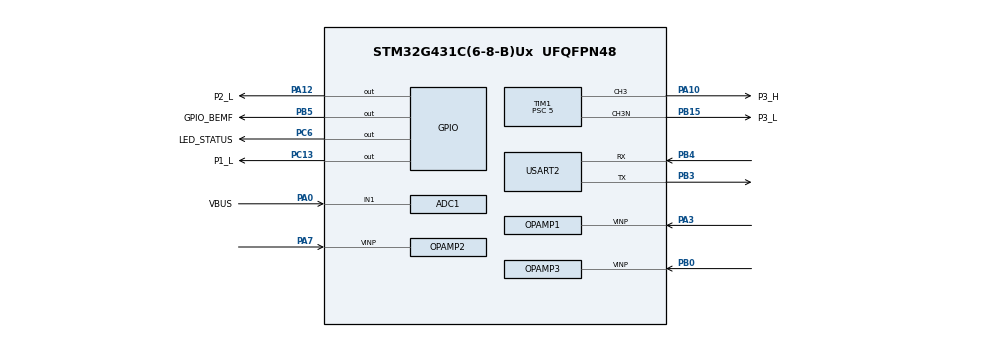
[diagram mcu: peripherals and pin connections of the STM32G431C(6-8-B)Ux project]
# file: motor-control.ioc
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ADC1.Channel-5\#ChannelRegularConversion=ADC_CHANNEL_1
ADC1.Channel-6\#ChannelRegularConversion=ADC_CHANNEL_VOPAMP1
ADC1.DMAContinuousRequests=ENABLE
ADC1.EOCSelection=ADC_EOC_SEQ_CONV
ADC1.ExternalTrigConv=ADC_EXTERNALTRIG_T1_TRGO
ADC1.NbrOfConversion=2
ADC1.NbrOfConversionFlag=1
ADC1.OffsetNumber-5\#ChannelRegularConversion=ADC_OFFSET_NONE
ADC1.OffsetNumber-6\#ChannelRegularConversion=ADC_OFFSET_NONE
ADC1.Rank-5\#ChannelRegularConversion=1
ADC1.Rank-6\#ChannelRegularConversion=2
ADC1.SamplingTime-5\#ChannelRegularConversion=ADC_SAMPLETIME_2CYCLES_5
ADC1.SamplingTime-6\#ChannelRegularConversion=ADC_SAMPLETIME_2CYCLES_5
ADC1.master=1
ADC2.Channel-3\#ChannelRegularConversion=ADC_CHANNEL_VOPAMP2
ADC2.Channel-4\#ChannelRegularConversion=ADC_CHANNEL_VOPAMP2
ADC2.ContinuousConvMode=ENABLE
ADC2.DMAContinuousRequests=ENABLE
ADC2.EOCSelection=ADC_EOC_SEQ_CONV
ADC2.ExternalTrigConv=ADC_SOFTWARE_START
ADC2.NbrOfConversion=2
ADC2.NbrOfConversionFlag=1
ADC2.OffsetNumber-3\#ChannelRegularConversion=ADC_OFFSET_NONE
ADC2.OffsetNumber-4\#ChannelRegularConversion=ADC_OFFSET_NONE
ADC2.Rank-3\#ChannelRegularConversion=1
ADC2.Rank-4\#ChannelRegularConversion=2
ADC2.SamplingTime-3\#ChannelRegularConversion=ADC_SAMPLETIME_2CYCLES_5
ADC2.SamplingTime-4\#ChannelRegularConversion=ADC_SAMPLETIME_2CYCLES_5
Dma.ADC1.1.Direction=DMA_PERIPH_TO_MEMORY
Dma.ADC1.1.EventEnable=DISABLE
Dma.ADC1.1.Instance=DMA1_Channel1
Dma.ADC1.1.MemDataAlignment=DMA_MDATAALIGN_HALFWORD
Dma.ADC1.1.MemInc=DMA_MINC_ENABLE
Dma.ADC1.1.Mode=DMA_CIRCULAR
Dma.ADC1.1.PeriphDataAlignment=DMA_PDATAALIGN_HALFWORD
Dma.ADC1.1.PeriphInc=DMA_PINC_DISABLE
Dma.ADC1.1.Polarity=HAL_DMAMUX_REQ_GEN_RISING
Dma.ADC1.1.Priority=DMA_PRIORITY_LOW
Dma.ADC1.1.RequestNumber=1
Dma.ADC1.1.SignalID=NONE
Dma.ADC1.1.SyncEnable=DISABLE
Dma.ADC1.1.SyncPolarity=HAL_DMAMUX_SYNC_NO_EVENT
Dma.ADC1.1.SyncRequestNumber=1
Dma.ADC1.1.SyncSignalID=NONE
Dma.ADC2.0.Direction=DMA_PERIPH_TO_MEMORY
Dma.ADC2.0.EventEnable=DISABLE
Dma.ADC2.0.Instance=DMA1_Channel2
Dma.ADC2.0.MemDataAlignment=DMA_MDATAALIGN_HALFWORD
Dma.ADC2.0.MemInc=DMA_MINC_ENABLE
Dma.ADC2.0.Mode=DMA_CIRCULAR
Dma.ADC2.0.PeriphDataAlignment=DMA_PDATAALIGN_HALFWORD
Dma.ADC2.0.PeriphInc=DMA_PINC_DISABLE
Dma.ADC2.0.Polarity=HAL_DMAMUX_REQ_GEN_RISING
Dma.ADC2.0.Priority=DMA_PRIORITY_LOW
Dma.ADC2.0.RequestNumber=1
Dma.ADC2.0.SignalID=NONE
Dma.ADC2.0.SyncEnable=DISABLE
Dma.ADC2.0.SyncPolarity=HAL_DMAMUX_SYNC_NO_EVENT
Dma.ADC2.0.SyncRequestNumber=1
Dma.ADC2.0.SyncSignalID=NONE
Dma.Request0=ADC2
Dma.Request1=ADC1
Mcu.Family=STM32G4
Mcu.Name=STM32G431C(6-8-B)Ux
Mcu.Package=UFQFPN48
NVIC.DMA1_Channel1_IRQn=true\:0\:0\:false\:false\:true\:false\:true\:true
NVIC.DMA1_Channel2_IRQn=true\:0\:0\:false\:false\:true\:false\:true\:true
NVIC.PriorityGroup=NVIC_PRIORITYGROUP_4
OPAMP1.PgaGain=OPAMP_PGA_GAIN_16_OR_MINUS_15
OPAMP2.PgaGain=OPAMP_PGA_GAIN_16_OR_MINUS_15
OPAMP3.PgaGain=OPAMP_PGA_GAIN_16_OR_MINUS_15
OPAMP3.PowerMode=OPAMP_POWERMODE_HIGHSPEED
PA0.GPIO_Label=VBUS
PA0.Mode=IN1-Single-Ended
PA0.Signal=ADC1_IN1
PA10.GPIO_Label=P3_H
PA10.Signal=S_TIM1_CH3
PA12.GPIO_Label=P2_L
PA12.Signal=GPIO_Output
PA3.Mode=PGA_Internally_Connected
PA3.Signal=OPAMP1_VINP
PA7.Mode=PGA_Internally_Connected
PA7.Signal=OPAMP2_VINP
PA8.GPIO_Label=P1_H
PA8.GPIO_Speed=GPIO_SPEED_FREQ_HIGH
PA8.Signal=S_TIM1_CH1
PA9.GPIO_Label=P2_H
PA9.Signal=S_TIM1_CH2
PB0.Mode=PGA_Internally_Connected
PB0.Signal=OPAMP3_VINP
PB15.GPIO_Label=P3_L
PB15.Mode=PWM Generation3 CH3 CH3N
PB15.Signal=TIM1_CH3N
PB3.Mode=Asynchronous
PB3.Signal=USART2_TX
PB4.Mode=Asynchronous
PB4.Signal=USART2_RX
PB5.GPIO_Label=GPIO_BEMF
PB5.Signal=GPIO_Output
PC13.GPIO_Label=P1_L
PC13.Signal=GPIO_Output
PC6.GPIO_Label=LED_STATUS
PC6.Signal=GPIO_Output
PF0-OSC_IN.Mode=HSE-External-Oscillator
PF0-OSC_IN.Signal=RCC_OSC_IN
PF1-OSC_OUT.Mode=HSE-External-Oscillator
PF1-OSC_OUT.Signal=RCC_OSC_OUT
ProjectManager.HeapSize=0x200
ProjectManager.StackSize=0x400
ProjectManager.TargetToolchain=STM32CubeIDE
RCC.ADC12Freq_Value=120000000
RCC.AHBFreq_Value=120000000
RCC.APB1Freq_Value=120000000
RCC.APB1TimFreq_Value=120000000
RCC.APB2Freq_Value=120000000
RCC.APB2TimFreq_Value=120000000
RCC.CortexFreq_Value=120000000
RCC.EXTERNAL_CLOCK_VALUE=12288000
RCC.HCLKFreq_Value=120000000
RCC.HSE_VALUE=8000000
RCC.HSI48_VALUE=48000000
RCC.HSI_VALUE=16000000
RCC.LSE_VALUE=32768
RCC.PLLN=30
RCC.PLLSourceVirtual=RCC_PLLSOURCE_HSE
RCC.SYSCLKFreq_VALUE=120000000
RCC.SYSCLKSource=RCC_SYSCLKSOURCE_PLLCLK
RCC.USBFreq_Value=120000000
RCC.VCOOutputFreq_Value=240000000
SH.S_TIM1_CH1.0=TIM1_CH1
SH.S_TIM1_CH2.0=TIM1_CH2
SH.S_TIM1_CH3.0=TIM1_CH3,PWM Generation3 CH3 CH3N
TIM1.AsymmetricalDeadTime=DISABLE
TIM1.AutoReloadPreload=TIM_AUTORELOAD_PRELOAD_DISABLE
TIM1.AutomaticOutput=TIM_AUTOMATICOUTPUT_ENABLE
TIM1.Channel-PWM\ Generation3\ CH3\ CH3N=TIM_CHANNEL_3
TIM1.Channel-PWM\ Generation4\ No\ Output=TIM_CHANNEL_4
TIM1.CounterMode=TIM_COUNTERMODE_CENTERALIGNED1
TIM1.DeadTime=20
TIM1.DeadTimePreload=DISABLE
TIM1.FallingDeadTime=20
TIM1.OCPolarity_4=TIM_OCPOLARITY_LOW
TIM1.PeriodNoDither=499
TIM1.Prescaler=5
TIM1.PulseNoDither_4=498
TIM1.TIM_MasterOutputTrigger=TIM_TRGO_OC4REF
TIM1.TIM_MasterOutputTrigger2=TIM_TRGO2_UPDATE
USART2.VirtualMode-Asynchronous=VM_ASYNC
VP_ADC1_OPAMP_INTERNAL1.Mode=IN-OPAMP1
VP_ADC2_OPAMP_INTERNAL2.Mode=IN-OPAMP2
VP_TIM1_VS_ClockSourceINT.Mode=Internal
VP_TIM1_VS_no_output4.Mode=PWM Generation4 No Output
board=custom

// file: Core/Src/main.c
/* USER CODE BEGIN Header */
/**
 ******************************************************************************
 * @file           : main.c
 * @brief          : Main program body
 ******************************************************************************
 * @attention
 *
 * Copyright (c) 2023 STMicroelectronics.
 * All rights reserved.
 *
 * This software is licensed under terms that can be found in the LICENSE file
 * in the root directory of this software component.
 * If no LICENSE file comes with this software, it is provided AS-IS.
 *
 ******************************************************************************
 */
/* USER CODE END Header */
#include "main.h"
#include "adc.h"
#include "dma.h"
#include "opamp.h"
#include "tim.h"
#include "usart.h"
#include "gpio.h"

/* USER CODE BEGIN Includes */
#include <string.h>
#include <stdio.h>
/* USER CODE END Includes */

void SystemClock_Config(void);

/* USER CODE BEGIN 0 */
volatile uint16_t adc1_dma[2];
volatile uint16_t adc2_dma[2];
/* USER CODE END 0 */

int main(void)
{

  /* MCU Configuration--------------------------------------------------------*/

  /* Reset of all peripherals, Initializes the Flash interface and the Systick. */
  LL_APB2_GRP1_EnableClock(LL_APB2_GRP1_PERIPH_SYSCFG);
  LL_APB1_GRP1_EnableClock(LL_APB1_GRP1_PERIPH_PWR);

  /* System interrupt init*/
  NVIC_SetPriorityGrouping(NVIC_PRIORITYGROUP_4);

  /* SysTick_IRQn interrupt configuration */
  NVIC_SetPriority(SysTick_IRQn, NVIC_EncodePriority(NVIC_GetPriorityGrouping(),15, 0));

  /* Configure the system clock */
  SystemClock_Config();

  /* Initialize all configured peripherals */
  MX_GPIO_Init();
  MX_DMA_Init();
  MX_USART2_UART_Init();
  MX_ADC1_Init();
  MX_TIM1_Init();
  MX_OPAMP3_Init();
  MX_OPAMP2_Init();
  MX_ADC2_Init();
  MX_OPAMP1_Init();
  /* USER CODE BEGIN 2 */
	LL_ADC_StartCalibration(ADC1, LL_ADC_SINGLE_ENDED);
	LL_ADC_StartCalibration(ADC2, LL_ADC_SINGLE_ENDED);

	while (LL_ADC_IsCalibrationOnGoing(ADC1)) {
	};
	while (LL_ADC_IsCalibrationOnGoing(ADC2)) {
	};

	LL_ADC_Enable(ADC1);
	LL_ADC_Enable(ADC2);

	LL_OPAMP_Enable(OPAMP1);
	LL_OPAMP_Enable(OPAMP2);
	LL_OPAMP_Enable(OPAMP3);

	LL_mDelay(1000);

	LL_TIM_EnableCounter(TIM1);

	LL_TIM_GenerateEvent_UPDATE(TIM1);

	LL_ADC_REG_StartConversion(ADC1);
	LL_ADC_REG_StartConversion(ADC2);

	LL_DMA_ConfigAddresses(DMA1, LL_DMA_CHANNEL_1, (uint32_t)&ADC1->DR, (uint32_t)adc1_dma,
			LL_DMA_DIRECTION_PERIPH_TO_MEMORY);
	LL_DMA_SetDataLength(DMA1, LL_DMA_CHANNEL_1, 2);
	LL_DMA_EnableChannel(DMA1, LL_DMA_CHANNEL_1);

	LL_DMA_ConfigAddresses(DMA1, LL_DMA_CHANNEL_2, (uint32_t)&ADC2->DR, (uint32_t)adc2_dma,
			LL_DMA_DIRECTION_PERIPH_TO_MEMORY);
	LL_DMA_SetDataLength(DMA1, LL_DMA_CHANNEL_2, 2);
	LL_DMA_EnableChannel(DMA1, LL_DMA_CHANNEL_2);

	LL_GPIO_SetOutputPin(P1_L_GPIO_Port, P1_L_Pin);
	LL_GPIO_SetOutputPin(P2_L_GPIO_Port, P2_L_Pin);
  /* USER CODE END 2 */

  /* Infinite loop */
  /* USER CODE BEGIN WHILE */
	char buffer[200];
	  uint8_t num = 0;

	while (1) {
    /* USER CODE END WHILE */

    /* USER CODE BEGIN 3 */
		  LL_GPIO_TogglePin(LED_STATUS_GPIO_Port, LED_STATUS_Pin);

		  uint32_t bus_mV = (adc1_dma[0] * 3300UL) >> 12;
		  bus_mV = (bus_mV * (169+18)) / 18;

		  int32_t shunt_mV[3];
		  shunt_mV[0] = 0;//(adc1_dma[0] * 3300UL) >> 12;
		  shunt_mV[1] = (adc2_dma[0] * 3300UL) >> 12;
		  shunt_mV[2] = 0;//(adc2_dma[1] * 3300UL) >> 12;

		  float shuntMv1 = (((adc2_dma[0] * 3300.0f) / 4096.0f) - 2048.0f) * 577.0f / 16.0f;

		  shunt_mV[1] = (int32_t)shuntMv1; //((shunt_mV[1] - 2048) * 577) / 16; //((shunt_mV[1] - 2048) * 577) / 16;

		  num = sprintf(buffer, "B %4i S %4i %4i %4i\r\n", bus_mV, shunt_mV[0], shunt_mV[1], shunt_mV[2]);
		  uart_tx_bytes_blocking((uint8_t*)buffer, num);

		LL_mDelay(100);
	}
  /* USER CODE END 3 */
}

void SystemClock_Config(void)
{
  LL_FLASH_SetLatency(LL_FLASH_LATENCY_3);
  while(LL_FLASH_GetLatency() != LL_FLASH_LATENCY_3)
  {
  }
  LL_PWR_SetRegulVoltageScaling(LL_PWR_REGU_VOLTAGE_SCALE1);
  LL_RCC_HSE_Enable();
   /* Wait till HSE is ready */
  while(LL_RCC_HSE_IsReady() != 1)
  {
  }

  LL_RCC_PLL_ConfigDomain_SYS(LL_RCC_PLLSOURCE_HSE, LL_RCC_PLLM_DIV_1, 30, LL_RCC_PLLR_DIV_2);
  LL_RCC_PLL_EnableDomain_SYS();
  LL_RCC_PLL_Enable();
   /* Wait till PLL is ready */
  while(LL_RCC_PLL_IsReady() != 1)
  {
  }

  LL_RCC_SetSysClkSource(LL_RCC_SYS_CLKSOURCE_PLL);
  LL_RCC_SetAHBPrescaler(LL_RCC_SYSCLK_DIV_2);
   /* Wait till System clock is ready */
  while(LL_RCC_GetSysClkSource() != LL_RCC_SYS_CLKSOURCE_STATUS_PLL)
  {
  }

  /* Insure 1us transition state at intermediate medium speed clock*/
  for (__IO uint32_t i = (170 >> 1); i !=0; i--);

  /* Set AHB prescaler*/
  LL_RCC_SetAHBPrescaler(LL_RCC_SYSCLK_DIV_1);
  LL_RCC_SetAPB1Prescaler(LL_RCC_APB1_DIV_1);
  LL_RCC_SetAPB2Prescaler(LL_RCC_APB2_DIV_1);

  LL_Init1msTick(120000000);

  LL_SetSystemCoreClock(120000000);
}

void Error_Handler(void)
{
	__disable_irq();
	while (1) {
	}
}
